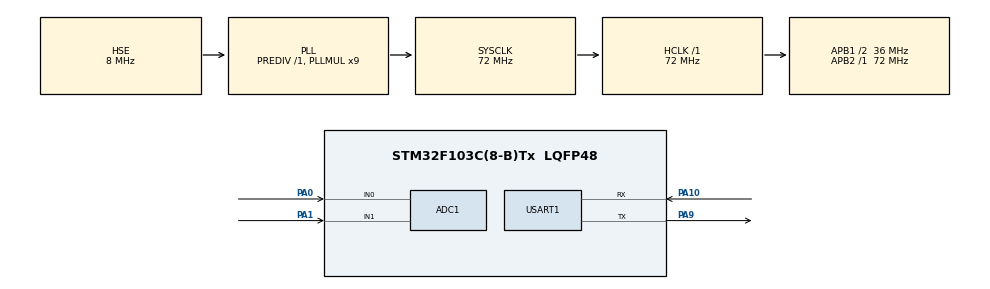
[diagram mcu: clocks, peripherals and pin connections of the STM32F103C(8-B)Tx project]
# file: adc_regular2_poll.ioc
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ADC1.Channel-0\#ChannelRegularConversion=ADC_CHANNEL_0
ADC1.NbrOfConversionFlag=1
ADC1.Rank-0\#ChannelRegularConversion=1
ADC1.SamplingTime-0\#ChannelRegularConversion=ADC_SAMPLETIME_1CYCLE_5
ADC1.master=1
Mcu.Family=STM32F1
Mcu.Name=STM32F103C(8-B)Tx
Mcu.Package=LQFP48
NVIC.PriorityGroup=NVIC_PRIORITYGROUP_4
PA0-WKUP.Signal=ADCx_IN0
PA1.Signal=ADCx_IN1
PA10.Mode=Asynchronous
PA10.Signal=USART1_RX
PA13.Mode=Serial_Wire
PA13.Signal=SYS_JTMS-SWDIO
PA14.Mode=Serial_Wire
PA14.Signal=SYS_JTCK-SWCLK
PA9.Mode=Asynchronous
PA9.Signal=USART1_TX
PD0-OSC_IN.Mode=HSE-External-Oscillator
PD0-OSC_IN.Signal=RCC_OSC_IN
PD1-OSC_OUT.Mode=HSE-External-Oscillator
PD1-OSC_OUT.Signal=RCC_OSC_OUT
ProjectManager.HeapSize=0x200
ProjectManager.StackSize=0x400
ProjectManager.TargetToolchain=MDK-ARM V5.32
RCC.ADCPresc=RCC_ADCPCLK2_DIV6
RCC.AHBFreq_Value=72000000
RCC.APB1CLKDivider=RCC_HCLK_DIV2
RCC.APB1Freq_Value=36000000
RCC.APB1TimFreq_Value=72000000
RCC.APB2Freq_Value=72000000
RCC.APB2TimFreq_Value=72000000
RCC.HCLKFreq_Value=72000000
RCC.PLLMUL=RCC_PLL_MUL9
RCC.PLLSourceVirtual=RCC_PLLSOURCE_HSE
RCC.SYSCLKFreq_VALUE=72000000
RCC.SYSCLKSource=RCC_SYSCLKSOURCE_PLLCLK
RCC.USBFreq_Value=72000000
SH.ADCx_IN0.0=ADC1_IN0,IN0
SH.ADCx_IN1.0=ADC1_IN1,IN1
USART1.VirtualMode=VM_ASYNC
board=custom

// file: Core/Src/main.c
/* USER CODE BEGIN Header */
/**
  ******************************************************************************
  * @file           : main.c
  * @brief          : Main program body
  ******************************************************************************
  * @attention
  *
  * Copyright (c) 2023 STMicroelectronics.
  * All rights reserved.
  *
  * This software is licensed under terms that can be found in the LICENSE file
  * in the root directory of this software component.
  * If no LICENSE file comes with this software, it is provided AS-IS.
  *
  ******************************************************************************
  */
/* USER CODE END Header */
#include "main.h"
#include "adc.h"
#include "usart.h"
#include "gpio.h"

/* USER CODE BEGIN Includes */
#include <stdio.h>
/* USER CODE END Includes */

void SystemClock_Config(void);

/* USER CODE BEGIN 0 */
int fputc(int ch, FILE *file) {
	unsigned char temp[1] = {ch};
	HAL_UART_Transmit(&huart1, temp, 1, 0xfff);
	return ch;
}

uint16_t ADC_Read(uint32_t Channel)
{
	ADC_ChannelConfTypeDef sConfig = {0};
	sConfig.Channel = Channel;                                         /* 通道 */
	sConfig.Rank = ADC_REGULAR_RANK_1;
	sConfig.SamplingTime = ADC_SAMPLETIME_1CYCLE_5;                  /* 采样时间 */
	if (HAL_ADC_ConfigChannel(&hadc1, &sConfig) != HAL_OK)
	{
		Error_Handler();
	}
	HAL_ADC_Start(&hadc1);
	HAL_ADC_PollForConversion(&hadc1, HAL_MAX_DELAY);
	return (uint16_t)HAL_ADC_GetValue(&hadc1);
}

/* USER CODE END 0 */

int main(void)
{
  /* USER CODE BEGIN 1 */
	uint32_t result;
	uint32_t result1;
  /* USER CODE END 1 */

  /* MCU Configuration--------------------------------------------------------*/

  /* Reset of all peripherals, Initializes the Flash interface and the Systick. */
  HAL_Init();

  /* Configure the system clock */
  SystemClock_Config();

  /* Initialize all configured peripherals */
  MX_GPIO_Init();
  MX_ADC1_Init();
  MX_USART1_UART_Init();
  /* USER CODE BEGIN 2 */
	HAL_ADCEx_Calibration_Start(&hadc1);
  /* USER CODE END 2 */

  /* Infinite loop */
  while (1)
  {

    /* USER CODE BEGIN 3 */
		result = ADC_Read(ADC_CHANNEL_0);
		result1 = ADC_Read(ADC_CHANNEL_1);
		printf("result = %f\r\n", 3.3/4096 * result);
		printf("result1 = %f\r\n", 3.3/4096 * result1);
		HAL_Delay(1000);
  }
  /* USER CODE END 3 */
}

void SystemClock_Config(void)
{
  RCC_OscInitTypeDef RCC_OscInitStruct = {0};
  RCC_ClkInitTypeDef RCC_ClkInitStruct = {0};
  RCC_PeriphCLKInitTypeDef PeriphClkInit = {0};

  /** Initializes the RCC Oscillators according to the specified parameters
  * in the RCC_OscInitTypeDef structure.
  */
  RCC_OscInitStruct.OscillatorType = RCC_OSCILLATORTYPE_HSE;
  RCC_OscInitStruct.HSEState = RCC_HSE_ON;
  RCC_OscInitStruct.HSEPredivValue = RCC_HSE_PREDIV_DIV1;
  RCC_OscInitStruct.HSIState = RCC_HSI_ON;
  RCC_OscInitStruct.PLL.PLLState = RCC_PLL_ON;
  RCC_OscInitStruct.PLL.PLLSource = RCC_PLLSOURCE_HSE;
  RCC_OscInitStruct.PLL.PLLMUL = RCC_PLL_MUL9;
  if (HAL_RCC_OscConfig(&RCC_OscInitStruct) != HAL_OK)
  {
    Error_Handler();
  }

  /** Initializes the CPU, AHB and APB buses clocks
  */
  RCC_ClkInitStruct.ClockType = RCC_CLOCKTYPE_HCLK|RCC_CLOCKTYPE_SYSCLK
                              |RCC_CLOCKTYPE_PCLK1|RCC_CLOCKTYPE_PCLK2;
  RCC_ClkInitStruct.SYSCLKSource = RCC_SYSCLKSOURCE_PLLCLK;
  RCC_ClkInitStruct.AHBCLKDivider = RCC_SYSCLK_DIV1;
  RCC_ClkInitStruct.APB1CLKDivider = RCC_HCLK_DIV2;
  RCC_ClkInitStruct.APB2CLKDivider = RCC_HCLK_DIV1;

  if (HAL_RCC_ClockConfig(&RCC_ClkInitStruct, FLASH_LATENCY_2) != HAL_OK)
  {
    Error_Handler();
  }
  PeriphClkInit.PeriphClockSelection = RCC_PERIPHCLK_ADC;
  PeriphClkInit.AdcClockSelection = RCC_ADCPCLK2_DIV6;
  if (HAL_RCCEx_PeriphCLKConfig(&PeriphClkInit) != HAL_OK)
  {
    Error_Handler();
  }
}

void Error_Handler(void)
{
  __disable_irq();
  while (1)
  {
  }
}
